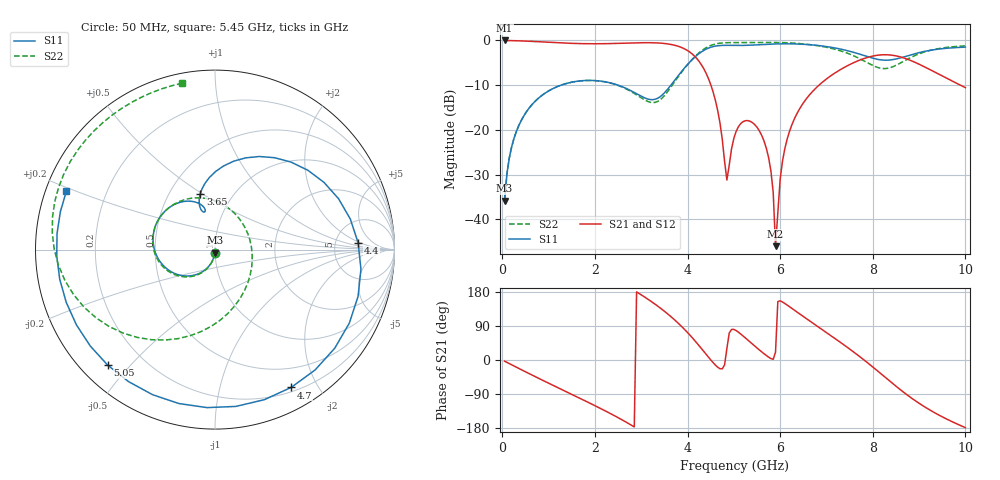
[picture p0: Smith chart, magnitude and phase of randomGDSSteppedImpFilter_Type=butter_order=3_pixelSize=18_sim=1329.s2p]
! freq	dB(S11)	phase(S11)	dB(S12)	phase(S12)
!  dB(S21)	phase(S21)	dB(S22)	phase(S22)
!S-par simulation data
#  GHz  S  DB  R 50
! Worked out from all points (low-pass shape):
!   200 points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, 50 MHz to 10 GHz, reference 50 ohm
!   highest |S21| = -0.01 dB at 50 MHz (marker M1); lowest = -46.0 dB at 5.9 GHz (marker M2)
!   |S21| within 3 dB of the highest: start of sweep to 4.098 GHz
!   lowest |S11| = -35.8 dB at 50 MHz (marker M3), VSWR 1.03, Z = 49.9 - j1.61 ohm
!   |S11| at or under -10 dB: start of sweep to 1.269 GHz; 2.501 GHz to 3.641 GHz (1.14 GHz wide, 37.1 % of centre)
!   |S22| runs from -35.8 to -0.4 dB; largest |S21 - S12| = 0
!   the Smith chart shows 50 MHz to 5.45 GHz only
!   S11 on the Smith chart (normalised r, x): 50 MHz: 1.00, -0.03; 3.65 GHz: 0.71, +0.49; 4.4 GHz: 8.55, +1.77; 4.7 GHz: 0.25, -1.67; 5.05 GHz: 0.08, -0.43; 5.45 GHz: 0.06, +0.19
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0.05  -35.81 -93.0  -0.01 -3.2  -0.01 -3.2  -35.81 -92.9
0.2  -23.88 -103.0  -0.04 -12.5  -0.04 -12.5  -23.88 -102.4
0.5  -16.28 -122.2  -0.15 -31.1  -0.15 -31.1  -16.28 -120.9
1.75  -8.98 163.0  -0.72 -105.4  -0.72 -105.4  -8.99 165.1
2.75  -11.09 110.6  -0.58 -169.3  -0.58 -169.3  -11.26 91.1
3.4  -12.64 109.1  -0.59 138.2  -0.59 138.2  -13.34 -15.3
3.65  -9.88 104.9  -0.91 113.5  -0.91 113.5  -10.30 -62.7
4.1  -4.29 57.0  -3.02 59.1  -3.02 59.1  -4.23 -125.2
4.4  -1.96 2.7  -7.32 15.2  -7.32 15.2  -1.65 -162.5
4.7  -1.14 -61.1  -18.42 -23.0  -18.42 -23.0  -0.61 163.3
4.85  -1.10 -92.9  -31.20 30.5  -31.20 30.5  -0.50 148.6
5.05  -1.12 -132.9  -20.32 77.7  -20.32 77.7  -0.50 131.3
5.45  -1.01 158.4  -18.80 36.8  -18.80 36.8  -0.49 101.1
5.8  -0.83 109.6  -29.14 3.8  -29.14 3.8  -0.45 75.4
5.9  -0.79 97.2  -45.99 20.5  -45.99 20.5  -0.45 68.0
6.1  -0.75 74.1  -24.23 149.3  -24.23 149.3  -0.50 52.9
6.7  -1.01 15.6  -11.41 97.8  -11.41 97.8  -1.01 5.3
7.6  -2.70 -48.5  -4.92 19.9  -4.92 19.9  -3.49 -84.9
8.35  -4.39 -72.8  -3.23 -54.0  -3.23 -54.0  -6.17 140.7
8.75  -3.44 -82.5  -4.20 -92.9  -4.20 -92.9  -4.18 68.2
9.2  -2.28 -101.0  -6.34 -129.6  -6.34 -129.6  -2.33 14.1
10  -1.50 -137.7  -10.55 -178.5  -10.55 -178.5  -1.22 -47.2
